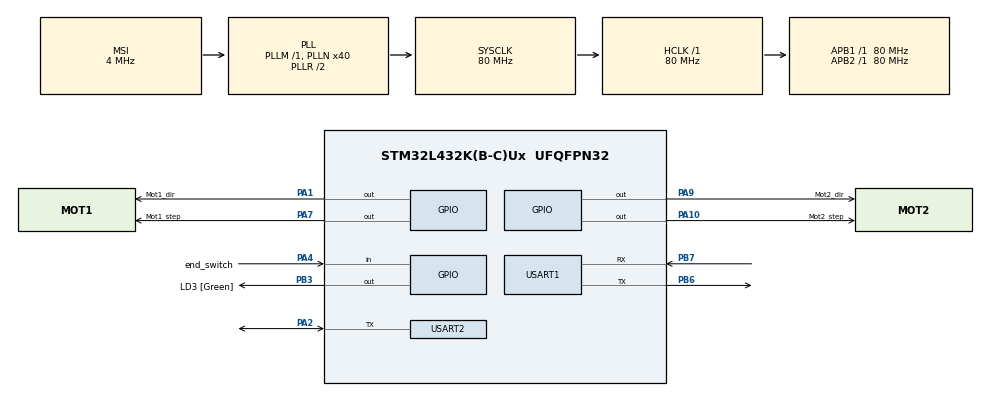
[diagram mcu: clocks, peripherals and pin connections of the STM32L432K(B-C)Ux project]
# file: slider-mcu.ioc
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Dma.Request0=USART1_RX
Dma.USART1_RX.0.Direction=DMA_PERIPH_TO_MEMORY
Dma.USART1_RX.0.Instance=DMA1_Channel5
Dma.USART1_RX.0.MemDataAlignment=DMA_MDATAALIGN_BYTE
Dma.USART1_RX.0.MemInc=DMA_MINC_ENABLE
Dma.USART1_RX.0.Mode=DMA_NORMAL
Dma.USART1_RX.0.PeriphDataAlignment=DMA_PDATAALIGN_BYTE
Dma.USART1_RX.0.PeriphInc=DMA_PINC_DISABLE
Dma.USART1_RX.0.Priority=DMA_PRIORITY_LOW
FREERTOS.BinarySemaphores01=motionSem,Dynamic,NULL,Available
FREERTOS.Mutexes01=sliderMutex,Dynamic,NULL,Available
FREERTOS.Queues01=cmdRxQueue,64,uint16_t,0,Dynamic,NULL,NULL
FREERTOS.Tasks01=sliderTask,0,512,StartSliderTask,Default,NULL,Dynamic,NULL,NULL;cmdParseTask,1,256,StartCmdParseTask,Default,NULL,Dynamic,NULL,NULL
FREERTOS.configTOTAL_HEAP_SIZE=4096
Mcu.Family=STM32L4
Mcu.Name=STM32L432K(B-C)Ux
Mcu.Package=UFQFPN32
NVIC.DMA1_Channel5_IRQn=true\:5\:0\:false\:false\:true\:true\:false\:true\:true
NVIC.PriorityGroup=NVIC_PRIORITYGROUP_4
NVIC.TIM2_IRQn=true\:5\:0\:false\:false\:true\:true\:true\:true\:true
NVIC.TIM6_DAC_IRQn=true\:15\:0\:false\:false\:true\:false\:false\:true\:true
NVIC.TimeBase=TIM6_DAC_IRQn
NVIC.TimeBaseIP=TIM6
NVIC.USART1_IRQn=true\:5\:0\:false\:false\:true\:true\:true\:true\:true
PA0.GPIO_Label=MCO [High speed clock in]
PA0.Mode=HSE-External-Clock-Source-for-LittleOrca
PA0.Signal=RCC_CK_IN
PA1.GPIO_Label=Mot1_dir
PA1.Signal=GPIO_Output
PA10.GPIO_Label=Mot2_step
PA10.Signal=GPIO_Output
PA13\ (JTMS-SWDIO).GPIO_Label=SWDIO
PA13\ (JTMS-SWDIO).Mode=Serial_Wire
PA13\ (JTMS-SWDIO).Signal=SYS_JTMS-SWDIO
PA14\ (JTCK-SWCLK).GPIO_Label=SWCLK
PA14\ (JTCK-SWCLK).Mode=Serial_Wire
PA14\ (JTCK-SWCLK).Signal=SYS_JTCK-SWCLK
PA2.Mode=Half_duplex(single_wire_mode)
PA2.Signal=USART2_TX
PA4.GPIO_Label=end_switch
PA4.GPIO_PuPd=GPIO_PULLUP
PA4.Signal=GPIO_Input
PA7.GPIO_Label=Mot1_step
PA7.Signal=GPIO_Output
PA9.GPIO_Label=Mot2_dir
PA9.Signal=GPIO_Output
PB3\ (JTDO-TRACESWO).GPIO_Label=LD3 [Green]
PB3\ (JTDO-TRACESWO).Signal=GPIO_Output
PB6.Mode=Asynchronous
PB6.Signal=USART1_TX
PB7.Mode=Asynchronous
PB7.Signal=USART1_RX
PC14-OSC32_IN\ (PC14).Mode=LSE-External-Oscillator
PC14-OSC32_IN\ (PC14).Signal=RCC_OSC32_IN
PC15-OSC32_OUT\ (PC15).Mode=LSE-External-Oscillator
PC15-OSC32_OUT\ (PC15).Signal=RCC_OSC32_OUT
ProjectManager.HeapSize=0x200
ProjectManager.StackSize=0x400
ProjectManager.TargetToolchain=CMake
RCC.AHBFreq_Value=80000000
RCC.APB1Freq_Value=80000000
RCC.APB1TimFreq_Value=80000000
RCC.APB2Freq_Value=80000000
RCC.APB2TimFreq_Value=80000000
RCC.CortexFreq_Value=80000000
RCC.HCLKFreq_Value=80000000
RCC.HSE_VALUE=8000000
RCC.HSI16_VALUE=16000000
RCC.HSI48_VALUE=48000000
RCC.HSI_VALUE=16000000
RCC.MSI_VALUE=4000000
RCC.PLLMUL=RCC_PLLMUL_4
RCC.PLLN=40
RCC.SYSCLKFreq_VALUE=80000000
RCC.SYSCLKSource=RCC_SYSCLKSOURCE_PLLCLK
RCC.VCOOutputFreq_Value=160000000
USART1.VirtualMode-Asynchronous=VM_ASYNC
USART2.VirtualMode-Half_duplex(single_wire_mode)=VM_ASYNC
VP_FREERTOS_VS_CMSIS_V1.Mode=CMSIS_V1
VP_SYS_VS_tim6.Mode=TIM6
VP_TIM2_VS_ClockSourceINT.Mode=Internal
board=NUCLEO-L432KC

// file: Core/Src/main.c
/* USER CODE BEGIN Header */
/**
  ******************************************************************************
  * @file           : main.c
  * @brief          : Main program body
  ******************************************************************************
  * @attention
  *
  * Copyright (c) 2026 STMicroelectronics.
  * All rights reserved.
  *
  * This software is licensed under terms that can be found in the LICENSE file
  * in the root directory of this software component.
  * If no LICENSE file comes with this software, it is provided AS-IS.
  *
  ******************************************************************************
  */
/* USER CODE END Header */
#include "main.h"
#include "cmsis_os.h"
#include "dma.h"
#include "tim.h"
#include "usart.h"
#include "gpio.h"

/* USER CODE BEGIN Includes */
#include "command_parser.h"
#include "slider.h"
#include "tmc2209.h"
#include "startup_sound.h"
/* USER CODE END Includes */

void SystemClock_Config(void);
void MX_FREERTOS_Init(void);

/* USER CODE BEGIN 0 */

extern char rxBuffer[RX_BUFFER_SIZE];

/* USER CODE END 0 */

int main(void)
{

  /* MCU Configuration--------------------------------------------------------*/

  /* Reset of all peripherals, Initializes the Flash interface and the Systick. */
  HAL_Init();

  /* Configure the system clock */
  SystemClock_Config();

  /* Initialize all configured peripherals */
  MX_GPIO_Init();
  MX_DMA_Init();
  MX_USART2_UART_Init();
  MX_TIM2_Init();
  MX_USART1_UART_Init();
  /* USER CODE BEGIN 2 */

  TMC2209_Init(&huart2);
  HAL_Delay(60);
  bool tmcCommOk = TMC2209_UartProbe(false);

  if (tmcCommOk)
  {
    if (HAL_GPIO_ReadPin(end_switch_GPIO_Port, end_switch_Pin) == GPIO_PIN_RESET)
    {
      StartupSound_Play();
    }
    else
    {
      TMC2209_ConfigureForMotion();
    }
  }

  Slider_Init();
  CommandParser_Init();

  HAL_UART_Receive_DMA(&huart1, (uint8_t*)rxBuffer, RX_BUFFER_SIZE);
  __HAL_UART_ENABLE_IT(&huart1, UART_IT_IDLE);

  /* USER CODE END 2 */

  /* Call init function for freertos objects (in cmsis_os2.c) */
  MX_FREERTOS_Init();

  /* Start scheduler */
  osKernelStart();

  /* We should never get here as control is now taken by the scheduler */

  /* Infinite loop */
  while (1)
  {

  }
}

void SystemClock_Config(void)
{
  RCC_OscInitTypeDef RCC_OscInitStruct = {0};
  RCC_ClkInitTypeDef RCC_ClkInitStruct = {0};

  /** Configure the main internal regulator output voltage
  */
  if (HAL_PWREx_ControlVoltageScaling(PWR_REGULATOR_VOLTAGE_SCALE1) != HAL_OK)
  {
    Error_Handler();
  }

  /** Configure LSE Drive Capability
  */
  HAL_PWR_EnableBkUpAccess();
  __HAL_RCC_LSEDRIVE_CONFIG(RCC_LSEDRIVE_LOW);

  /** Initializes the RCC Oscillators according to the specified parameters
  * in the RCC_OscInitTypeDef structure.
  */
  RCC_OscInitStruct.OscillatorType = RCC_OSCILLATORTYPE_LSE|RCC_OSCILLATORTYPE_MSI;
  RCC_OscInitStruct.LSEState = RCC_LSE_ON;
  RCC_OscInitStruct.MSIState = RCC_MSI_ON;
  RCC_OscInitStruct.MSICalibrationValue = 0;
  RCC_OscInitStruct.MSIClockRange = RCC_MSIRANGE_6;
  RCC_OscInitStruct.PLL.PLLState = RCC_PLL_ON;
  RCC_OscInitStruct.PLL.PLLSource = RCC_PLLSOURCE_MSI;
  RCC_OscInitStruct.PLL.PLLM = 1;
  RCC_OscInitStruct.PLL.PLLN = 40;
  RCC_OscInitStruct.PLL.PLLP = RCC_PLLP_DIV7;
  RCC_OscInitStruct.PLL.PLLQ = RCC_PLLQ_DIV2;
  RCC_OscInitStruct.PLL.PLLR = RCC_PLLR_DIV2;
  if (HAL_RCC_OscConfig(&RCC_OscInitStruct) != HAL_OK)
  {
    Error_Handler();
  }

  /** Initializes the CPU, AHB and APB buses clocks
  */
  RCC_ClkInitStruct.ClockType = RCC_CLOCKTYPE_HCLK|RCC_CLOCKTYPE_SYSCLK
                              |RCC_CLOCKTYPE_PCLK1|RCC_CLOCKTYPE_PCLK2;
  RCC_ClkInitStruct.SYSCLKSource = RCC_SYSCLKSOURCE_PLLCLK;
  RCC_ClkInitStruct.AHBCLKDivider = RCC_SYSCLK_DIV1;
  RCC_ClkInitStruct.APB1CLKDivider = RCC_HCLK_DIV1;
  RCC_ClkInitStruct.APB2CLKDivider = RCC_HCLK_DIV1;

  if (HAL_RCC_ClockConfig(&RCC_ClkInitStruct, FLASH_LATENCY_4) != HAL_OK)
  {
    Error_Handler();
  }

  /** Enable MSI Auto calibration
  */
  HAL_RCCEx_EnableMSIPLLMode();
}

/* USER CODE BEGIN 4 */

// void HAL_UART_RxCpltCallback(UART_HandleTypeDef *huart)
// {
//   CommandParser_RxCallback(huart);
// }

/* USER CODE END 4 */

void HAL_TIM_PeriodElapsedCallback(TIM_HandleTypeDef *htim)
{
  if (htim->Instance == TIM6)
  {
    HAL_IncTick();
  }
}

void Error_Handler(void)
{
  __disable_irq();
  while (1)
  {
  }
}

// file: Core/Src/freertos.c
/* USER CODE BEGIN Header */
/**
  ******************************************************************************
  * File Name          : freertos.c
  * Description        : Code for freertos applications
  ******************************************************************************
  * @attention
  *
  * Copyright (c) 2026 STMicroelectronics.
  * All rights reserved.
  *
  * This software is licensed under terms that can be found in the LICENSE file
  * in the root directory of this software component.
  * If no LICENSE file comes with this software, it is provided AS-IS.
  *
  ******************************************************************************
  */
/* USER CODE END Header */

#include "FreeRTOS.h"
#include "task.h"
#include "main.h"
#include "cmsis_os.h"

/* USER CODE BEGIN Includes */

#include "command_parser.h"
#include "slider.h"

/* USER CODE END Includes */

osThreadId sliderTaskHandle;
osThreadId cmdParseTaskHandle;
osMessageQId cmdRxQueueHandle;
osMutexId sliderMutexHandle;
osSemaphoreId motionSemHandle;

void StartSliderTask(void const * argument);
void StartCmdParseTask(void const * argument);

void MX_FREERTOS_Init(void); /* (MISRA C 2004 rule 8.1) */

/* GetIdleTaskMemory prototype (linked to static allocation support) */
void vApplicationGetIdleTaskMemory( StaticTask_t **ppxIdleTaskTCBBuffer, StackType_t **ppxIdleTaskStackBuffer, uint32_t *pulIdleTaskStackSize );

/* USER CODE BEGIN GET_IDLE_TASK_MEMORY */
static StaticTask_t xIdleTaskTCBBuffer;
static StackType_t xIdleStack[configMINIMAL_STACK_SIZE];

void vApplicationGetIdleTaskMemory( StaticTask_t **ppxIdleTaskTCBBuffer, StackType_t **ppxIdleTaskStackBuffer, uint32_t *pulIdleTaskStackSize )
{
  *ppxIdleTaskTCBBuffer = &xIdleTaskTCBBuffer;
  *ppxIdleTaskStackBuffer = &xIdleStack[0];
  *pulIdleTaskStackSize = configMINIMAL_STACK_SIZE;
  /* place for user code */
}
/* USER CODE END GET_IDLE_TASK_MEMORY */

void MX_FREERTOS_Init(void) {
  /* Create the mutex(es) */
  /* definition and creation of sliderMutex */
  osMutexDef(sliderMutex);
  sliderMutexHandle = osMutexCreate(osMutex(sliderMutex));

  /* Create the semaphores(s) */
  /* definition and creation of motionSem */
  osSemaphoreDef(motionSem);
  motionSemHandle = osSemaphoreCreate(osSemaphore(motionSem), 1);

  /* Create the queue(s) */
  /* definition and creation of cmdRxQueue */
  osMessageQDef(cmdRxQueue, 64, uint16_t);
  cmdRxQueueHandle = osMessageCreate(osMessageQ(cmdRxQueue), NULL);

  /* Create the thread(s) */
  /* definition and creation of sliderTask */
  osThreadDef(sliderTask, StartSliderTask, osPriorityNormal, 0, 512);
  sliderTaskHandle = osThreadCreate(osThread(sliderTask), NULL);

  /* definition and creation of cmdParseTask */
  osThreadDef(cmdParseTask, StartCmdParseTask, osPriorityAboveNormal, 0, 256);
  cmdParseTaskHandle = osThreadCreate(osThread(cmdParseTask), NULL);

}

void StartSliderTask(void const * argument)
{
  /* USER CODE BEGIN StartSliderTask */
  /* Infinite loop */
  for(;;)
  {
    Slider_Run();
  }
  /* USER CODE END StartSliderTask */
}

void StartCmdParseTask(void const * argument)
{
  /* USER CODE BEGIN StartCmdParseTask */
  /* Infinite loop */
  for(;;)
  {
    CommandParser_Run();
    osDelay(10);
  }
  /* USER CODE END StartCmdParseTask */
}
